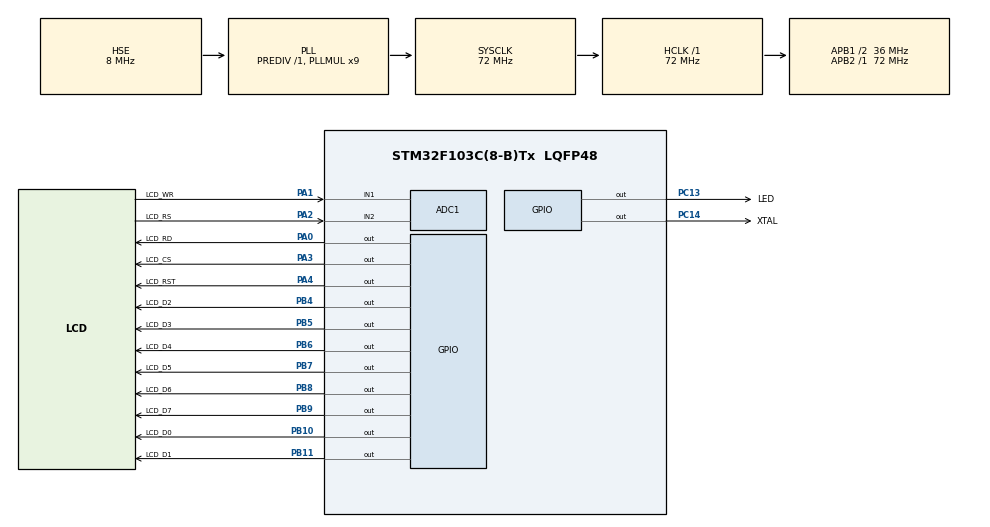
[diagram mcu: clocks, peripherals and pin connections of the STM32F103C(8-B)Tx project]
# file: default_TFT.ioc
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ADC1.Channel-0\#ChannelRegularConversion=ADC_CHANNEL_1
ADC1.Channel-1\#ChannelRegularConversion=ADC_CHANNEL_2
ADC1.ContinuousConvMode=DISABLE
ADC1.InjNumberOfConversion=0
ADC1.NbrOfConversion=2
ADC1.NbrOfConversionFlag=1
ADC1.Rank-0\#ChannelRegularConversion=1
ADC1.Rank-1\#ChannelRegularConversion=2
ADC1.SamplingTime-0\#ChannelRegularConversion=ADC_SAMPLETIME_1CYCLE_5
ADC1.SamplingTime-1\#ChannelRegularConversion=ADC_SAMPLETIME_1CYCLE_5
ADC1.master=1
Dma.ADC1.0.Direction=DMA_PERIPH_TO_MEMORY
Dma.ADC1.0.Instance=DMA1_Channel1
Dma.ADC1.0.MemDataAlignment=DMA_MDATAALIGN_WORD
Dma.ADC1.0.MemInc=DMA_MINC_ENABLE
Dma.ADC1.0.Mode=DMA_CIRCULAR
Dma.ADC1.0.PeriphDataAlignment=DMA_PDATAALIGN_WORD
Dma.ADC1.0.PeriphInc=DMA_PINC_DISABLE
Dma.ADC1.0.Priority=DMA_PRIORITY_LOW
Dma.Request0=ADC1
Mcu.Family=STM32F1
Mcu.Name=STM32F103C(8-B)Tx
Mcu.Package=LQFP48
NVIC.ADC1_2_IRQn=true\:0\:0\:false\:false\:true\:true
NVIC.DMA1_Channel1_IRQn=true\:0\:0\:false\:false\:true\:false
NVIC.PriorityGroup=NVIC_PRIORITYGROUP_4
PA0-WKUP.GPIO_Label=LCD_RD
PA0-WKUP.GPIO_Speed=GPIO_SPEED_FREQ_HIGH
PA0-WKUP.Signal=GPIO_Output
PA1.GPIO_Label=LCD_WR
PA1.Signal=SharedAnalog_PA1
PA13.Mode=Serial_Wire
PA13.Signal=SYS_JTMS-SWDIO
PA14.Mode=Serial_Wire
PA14.Signal=SYS_JTCK-SWCLK
PA2.GPIO_Label=LCD_RS
PA2.Signal=SharedAnalog_PA2
PA3.GPIO_Label=LCD_CS
PA3.GPIO_Speed=GPIO_SPEED_FREQ_HIGH
PA3.Signal=GPIO_Output
PA4.GPIO_Label=LCD_RST
PA4.GPIO_Speed=GPIO_SPEED_FREQ_HIGH
PA4.Signal=GPIO_Output
PB10.GPIO_Label=LCD_D0
PB10.GPIO_Speed=GPIO_SPEED_FREQ_HIGH
PB10.Signal=GPIO_Output
PB11.GPIO_Label=LCD_D1
PB11.GPIO_Speed=GPIO_SPEED_FREQ_HIGH
PB11.Signal=GPIO_Output
PB4.GPIO_Label=LCD_D2
PB4.GPIO_Speed=GPIO_SPEED_FREQ_HIGH
PB4.Signal=GPIO_Output
PB5.GPIO_Label=LCD_D3
PB5.GPIO_Speed=GPIO_SPEED_FREQ_HIGH
PB5.Signal=GPIO_Output
PB6.GPIO_Label=LCD_D4
PB6.GPIO_Speed=GPIO_SPEED_FREQ_HIGH
PB6.Signal=GPIO_Output
PB7.GPIO_Label=LCD_D5
PB7.GPIO_Speed=GPIO_SPEED_FREQ_HIGH
PB7.Signal=GPIO_Output
PB8.GPIO_Label=LCD_D6
PB8.GPIO_Speed=GPIO_SPEED_FREQ_HIGH
PB8.Signal=GPIO_Output
PB9.GPIO_Label=LCD_D7
PB9.GPIO_Speed=GPIO_SPEED_FREQ_HIGH
PB9.Signal=GPIO_Output
PC13-TAMPER-RTC.GPIO_Label=LED
PC13-TAMPER-RTC.Signal=GPIO_Output
PC14-OSC32_IN.GPIO_Label=XTAL
PC14-OSC32_IN.Signal=GPIO_Output
PD0-OSC_IN.Mode=HSE-External-Oscillator
PD0-OSC_IN.Signal=RCC_OSC_IN
PD1-OSC_OUT.Mode=HSE-External-Oscillator
PD1-OSC_OUT.Signal=RCC_OSC_OUT
ProjectManager.HeapSize=0x200
ProjectManager.StackSize=0x400
ProjectManager.TargetToolchain=TrueSTUDIO
RCC.ADCPresc=RCC_ADCPCLK2_DIV6
RCC.AHBFreq_Value=72000000
RCC.APB1CLKDivider=RCC_HCLK_DIV2
RCC.APB1Freq_Value=36000000
RCC.APB1TimFreq_Value=72000000
RCC.APB2Freq_Value=72000000
RCC.APB2TimFreq_Value=72000000
RCC.HCLKFreq_Value=72000000
RCC.PLLMUL=RCC_PLL_MUL9
RCC.PLLSourceVirtual=RCC_PLLSOURCE_HSE
RCC.SYSCLKFreq_VALUE=72000000
RCC.SYSCLKSource=RCC_SYSCLKSOURCE_PLLCLK
RCC.USBFreq_Value=72000000
SH.SharedAnalog_PA1.0=GPIO_Analog
SH.SharedAnalog_PA1.1=ADC1_IN1,IN1
SH.SharedAnalog_PA2.0=GPIO_Analog
SH.SharedAnalog_PA2.1=ADC1_IN2,IN2
board=custom

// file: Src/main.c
/**
  ******************************************************************************
  * @file           : main.c
  * @brief          : Main program body
  ******************************************************************************
  ** This notice applies to any and all portions of this file
  * that are not between comment pairs USER CODE BEGIN and
  * USER CODE END. Other portions of this file, whether
  * inserted by the user or by software development tools
  * are owned by their respective copyright owners.
  *
  * COPYRIGHT(c) 2019 STMicroelectronics
  *
  * Redistribution and use in source and binary forms, with or without modification,
  * are permitted provided that the following conditions are met:
  *   1. Redistributions of source code must retain the above copyright notice,
  *      this list of conditions and the following disclaimer.
  *   2. Redistributions in binary form must reproduce the above copyright notice,
  *      this list of conditions and the following disclaimer in the documentation
  *      and/or other materials provided with the distribution.
  *   3. Neither the name of STMicroelectronics nor the names of its contributors
  *      may be used to endorse or promote products derived from this software
  *      without specific prior written permission.
  *
  * THIS SOFTWARE IS PROVIDED BY THE COPYRIGHT HOLDERS AND CONTRIBUTORS "AS IS"
  * AND ANY EXPRESS OR IMPLIED WARRANTIES, INCLUDING, BUT NOT LIMITED TO, THE
  * IMPLIED WARRANTIES OF MERCHANTABILITY AND FITNESS FOR A PARTICULAR PURPOSE ARE
  * DISCLAIMED. IN NO EVENT SHALL THE COPYRIGHT HOLDER OR CONTRIBUTORS BE LIABLE
  * FOR ANY DIRECT, INDIRECT, INCIDENTAL, SPECIAL, EXEMPLARY, OR CONSEQUENTIAL
  * DAMAGES (INCLUDING, BUT NOT LIMITED TO, PROCUREMENT OF SUBSTITUTE GOODS OR
  * SERVICES; LOSS OF USE, DATA, OR PROFITS; OR BUSINESS INTERRUPTION) HOWEVER
  * CAUSED AND ON ANY THEORY OF LIABILITY, WHETHER IN CONTRACT, STRICT LIABILITY,
  * OR TORT (INCLUDING NEGLIGENCE OR OTHERWISE) ARISING IN ANY WAY OUT OF THE USE
  * OF THIS SOFTWARE, EVEN IF ADVISED OF THE POSSIBILITY OF SUCH DAMAGE.
  *
  ******************************************************************************
  */
#include "main.h"
#include "stm32f1xx_hal.h"

/* USER CODE BEGIN Includes */
#include "touch.h"
#include "lcd.h"
#include "string.h"
#include "stdio.h"
#include "stdbool.h"
#include <math.h>
/* USER CODE END Includes */

ADC_HandleTypeDef hadc1;
DMA_HandleTypeDef hdma_adc1;

/* USER CODE BEGIN PV */
/* Private variables ---------------------------------------------------------*/

uint32_t ADC_BUF[2];

/* USER CODE END PV */

void SystemClock_Config(void);
static void MX_GPIO_Init(void);
static void MX_DMA_Init(void);
static void MX_ADC1_Init(void);

/* USER CODE BEGIN PFP */
/* Private function prototypes -----------------------------------------------*/
void exampleScreen();

/* USER CODE END PFP */

/* USER CODE BEGIN 0 */
void HAL_ADC_ConvCpltCallback(ADC_HandleTypeDef* hadc)	{
	if(hadc->Instance == ADC1)	{
		val_adc1 = ADC_BUF[0];
		val_adc2 = ADC_BUF[1];
		flag_adc = 0;
		rs_output();
		wr_output();
	}
}

/* USER CODE END 0 */

int main(void)
{

  /* MCU Configuration----------------------------------------------------------*/

  /* Reset of all peripherals, Initializes the Flash interface and the Systick. */
  HAL_Init();

  /* Configure the system clock */
  SystemClock_Config();

  /* Initialize all configured peripherals */
  MX_GPIO_Init();
  MX_DMA_Init();
  MX_ADC1_Init();
  /* USER CODE BEGIN 2 */
  startLCD();	// Start LCD Hardware
  /*
   * Start ADC with DMA
   * 	Parameters:
   * 	ADC_HandleTypeDef hadc1;
   * 	uint32_t ADC_BUF[2];
   * 	uint32_t Length (number of used channels)
   */
  HAL_ADC_Start_DMA(&hadc1,(uint32_t*)ADC_BUF,2);
  flag_adc = 1;
  setRotation(3);

  /* USER CODE END 2 */

  /* Infinite loop */
  while (1)
  {

  /* USER CODE BEGIN 3 */
	  exampleScreen();	// Draw simple example screen
	  readTouch();	// Read touch
  }
  /* USER CODE END 3 */

}

void SystemClock_Config(void)
{

  RCC_OscInitTypeDef RCC_OscInitStruct;
  RCC_ClkInitTypeDef RCC_ClkInitStruct;
  RCC_PeriphCLKInitTypeDef PeriphClkInit;

    /**Initializes the CPU, AHB and APB busses clocks
    */
  RCC_OscInitStruct.OscillatorType = RCC_OSCILLATORTYPE_HSE;
  RCC_OscInitStruct.HSEState = RCC_HSE_ON;
  RCC_OscInitStruct.HSEPredivValue = RCC_HSE_PREDIV_DIV1;
  RCC_OscInitStruct.HSIState = RCC_HSI_ON;
  RCC_OscInitStruct.PLL.PLLState = RCC_PLL_ON;
  RCC_OscInitStruct.PLL.PLLSource = RCC_PLLSOURCE_HSE;
  RCC_OscInitStruct.PLL.PLLMUL = RCC_PLL_MUL9;
  if (HAL_RCC_OscConfig(&RCC_OscInitStruct) != HAL_OK)
  {
    _Error_Handler(__FILE__, __LINE__);
  }

    /**Initializes the CPU, AHB and APB busses clocks
    */
  RCC_ClkInitStruct.ClockType = RCC_CLOCKTYPE_HCLK|RCC_CLOCKTYPE_SYSCLK
                              |RCC_CLOCKTYPE_PCLK1|RCC_CLOCKTYPE_PCLK2;
  RCC_ClkInitStruct.SYSCLKSource = RCC_SYSCLKSOURCE_PLLCLK;
  RCC_ClkInitStruct.AHBCLKDivider = RCC_SYSCLK_DIV1;
  RCC_ClkInitStruct.APB1CLKDivider = RCC_HCLK_DIV2;
  RCC_ClkInitStruct.APB2CLKDivider = RCC_HCLK_DIV1;

  if (HAL_RCC_ClockConfig(&RCC_ClkInitStruct, FLASH_LATENCY_2) != HAL_OK)
  {
    _Error_Handler(__FILE__, __LINE__);
  }

  PeriphClkInit.PeriphClockSelection = RCC_PERIPHCLK_ADC;
  PeriphClkInit.AdcClockSelection = RCC_ADCPCLK2_DIV6;
  if (HAL_RCCEx_PeriphCLKConfig(&PeriphClkInit) != HAL_OK)
  {
    _Error_Handler(__FILE__, __LINE__);
  }

    /**Configure the Systick interrupt time
    */
  HAL_SYSTICK_Config(HAL_RCC_GetHCLKFreq()/1000);

    /**Configure the Systick
    */
  HAL_SYSTICK_CLKSourceConfig(SYSTICK_CLKSOURCE_HCLK);

  /* SysTick_IRQn interrupt configuration */
  HAL_NVIC_SetPriority(SysTick_IRQn, 0, 0);
}

/* ADC1 init function */
static void MX_ADC1_Init(void)
{

  ADC_ChannelConfTypeDef sConfig;

    /**Common config
    */
  hadc1.Instance = ADC1;
  hadc1.Init.ScanConvMode = ADC_SCAN_ENABLE;
  hadc1.Init.ContinuousConvMode = DISABLE;
  hadc1.Init.DiscontinuousConvMode = DISABLE;
  hadc1.Init.ExternalTrigConv = ADC_SOFTWARE_START;
  hadc1.Init.DataAlign = ADC_DATAALIGN_RIGHT;
  hadc1.Init.NbrOfConversion = 2;
  if (HAL_ADC_Init(&hadc1) != HAL_OK)
  {
    _Error_Handler(__FILE__, __LINE__);
  }

    /**Configure Regular Channel
    */
  sConfig.Channel = ADC_CHANNEL_1;
  sConfig.Rank = ADC_REGULAR_RANK_1;
  sConfig.SamplingTime = ADC_SAMPLETIME_1CYCLE_5;
  if (HAL_ADC_ConfigChannel(&hadc1, &sConfig) != HAL_OK)
  {
    _Error_Handler(__FILE__, __LINE__);
  }

    /**Configure Regular Channel
    */
  sConfig.Channel = ADC_CHANNEL_2;
  sConfig.Rank = ADC_REGULAR_RANK_2;
  if (HAL_ADC_ConfigChannel(&hadc1, &sConfig) != HAL_OK)
  {
    _Error_Handler(__FILE__, __LINE__);
  }

}

static void MX_DMA_Init(void)
{
  /* DMA controller clock enable */
  __HAL_RCC_DMA1_CLK_ENABLE();

  /* DMA interrupt init */
  /* DMA1_Channel1_IRQn interrupt configuration */
  HAL_NVIC_SetPriority(DMA1_Channel1_IRQn, 0, 0);
  HAL_NVIC_EnableIRQ(DMA1_Channel1_IRQn);

}

/** Configure pins as
        * Analog
        * Input
        * Output
        * EVENT_OUT
        * EXTI
     PA1   ------> SharedAnalog_PA1
     PA2   ------> SharedAnalog_PA2
*/
static void MX_GPIO_Init(void)
{

  GPIO_InitTypeDef GPIO_InitStruct;

  /* GPIO Ports Clock Enable */
  __HAL_RCC_GPIOC_CLK_ENABLE();
  __HAL_RCC_GPIOD_CLK_ENABLE();
  __HAL_RCC_GPIOA_CLK_ENABLE();
  __HAL_RCC_GPIOB_CLK_ENABLE();

  /*Configure GPIO pin Output Level */
  HAL_GPIO_WritePin(GPIOC, LED_Pin|XTAL_Pin, GPIO_PIN_RESET);

  /*Configure GPIO pin Output Level */
  HAL_GPIO_WritePin(GPIOA, LCD_RD_Pin|LCD_CS_Pin|LCD_RST_Pin, GPIO_PIN_RESET);

  /*Configure GPIO pin Output Level */
  HAL_GPIO_WritePin(GPIOB, LCD_D0_Pin|LCD_D1_Pin|LCD_D2_Pin|LCD_D3_Pin
                          |LCD_D4_Pin|LCD_D5_Pin|LCD_D6_Pin|LCD_D7_Pin, GPIO_PIN_RESET);

  /*Configure GPIO pins : LED_Pin XTAL_Pin */
  GPIO_InitStruct.Pin = LED_Pin|XTAL_Pin;
  GPIO_InitStruct.Mode = GPIO_MODE_OUTPUT_PP;
  GPIO_InitStruct.Pull = GPIO_NOPULL;
  GPIO_InitStruct.Speed = GPIO_SPEED_FREQ_LOW;
  HAL_GPIO_Init(GPIOC, &GPIO_InitStruct);

  /*Configure GPIO pins : LCD_RD_Pin LCD_CS_Pin LCD_RST_Pin */
  GPIO_InitStruct.Pin = LCD_RD_Pin|LCD_CS_Pin|LCD_RST_Pin;
  GPIO_InitStruct.Mode = GPIO_MODE_OUTPUT_PP;
  GPIO_InitStruct.Pull = GPIO_NOPULL;
  GPIO_InitStruct.Speed = GPIO_SPEED_FREQ_HIGH;
  HAL_GPIO_Init(GPIOA, &GPIO_InitStruct);

  /*Configure GPIO pins : LCD_WR_Pin LCD_RS_Pin */
  GPIO_InitStruct.Pin = LCD_WR_Pin|LCD_RS_Pin;
  GPIO_InitStruct.Mode = GPIO_MODE_ANALOG;
  HAL_GPIO_Init(GPIOA, &GPIO_InitStruct);

  /*Configure GPIO pins : LCD_D0_Pin LCD_D1_Pin LCD_D2_Pin LCD_D3_Pin
                           LCD_D4_Pin LCD_D5_Pin LCD_D6_Pin LCD_D7_Pin */
  GPIO_InitStruct.Pin = LCD_D0_Pin|LCD_D1_Pin|LCD_D2_Pin|LCD_D3_Pin
                          |LCD_D4_Pin|LCD_D5_Pin|LCD_D6_Pin|LCD_D7_Pin;
  GPIO_InitStruct.Mode = GPIO_MODE_OUTPUT_PP;
  GPIO_InitStruct.Pull = GPIO_NOPULL;
  GPIO_InitStruct.Speed = GPIO_SPEED_FREQ_HIGH;
  HAL_GPIO_Init(GPIOB, &GPIO_InitStruct);

}

/* USER CODE BEGIN 4 */

void exampleScreen() {
	// Title
	print(16,16,BLUE,BLACK,5,"UFABC");

	// Text
	print(16,55,BLUE,BLACK,4,"Hello World!");

	// Button
	print(16,100,BLUE,BLACK,4,"Button");
	drawRect(91, 10, 45, 155, BLUE);
	drawRect(92, 11, 43, 153, BLUE);

	print(16,168,BLUE,BLACK,2,"X:");

	print(130,168,BLUE,BLACK,2,"Y:");

	char temp[8];
	print(16,188,BLUE,BLACK,2,"W:");
	sprintf(temp, "%i", WIDTH);
	print(40,188,BLUE,BLACK,2,temp);

	print(130,188,BLUE,BLACK,2,"H:");
	sprintf(temp, "%i", HEIGHT);
	print(170,188,BLUE,BLACK,2,temp);
}

void startADC1IT() {
	HAL_ADC_Start_IT(&hadc1);
}

/* USER CODE END 4 */

void _Error_Handler(char *file, int line)
{
  while(1)
  {
  }
}

/************************ (C) COPYRIGHT STMicroelectronics *****END OF FILE****/
